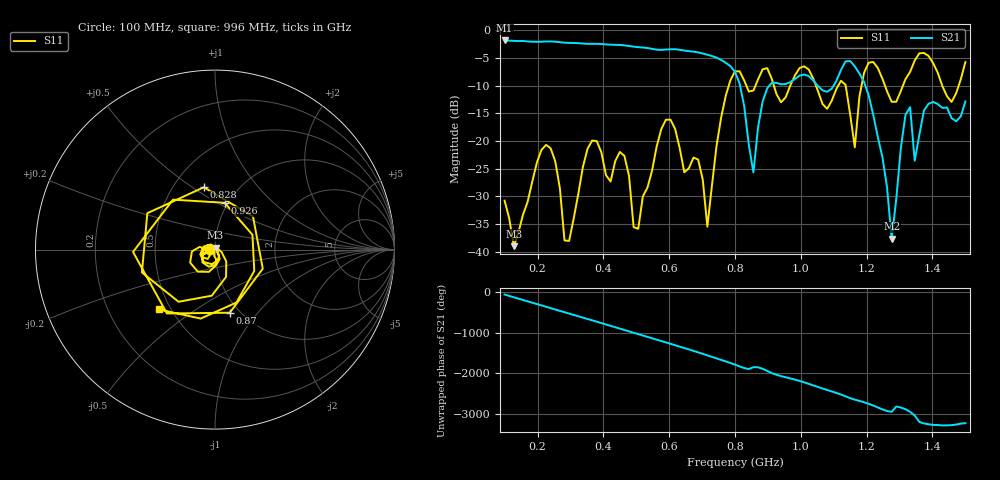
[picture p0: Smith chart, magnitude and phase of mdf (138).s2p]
! NanoVNA-App
! Date: 2025-09-25 15:39:30
! Start: 100MHz Stop: 1,5GHz Points: 101
! S-Parameter data: F S11 S21 S12 S22
# Hz S RI R 50
!  Frequency  S11_Real  S11_Imag  S21_Real  S21_Imag  S12_Real  S12_Imag  S22_Real  S22_Imag
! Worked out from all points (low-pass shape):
!   101 points, 100 MHz to 1.5 GHz, reference 50 ohm
!   highest |S21| = -1.80 dB at 100 MHz (marker M1); lowest = -37.7 dB at 1.276 GHz (marker M2)
!   |S21| within 3 dB of the highest: start of sweep to 739.2 MHz
!   lowest |S11| = -39.0 dB at 128 MHz (marker M3), VSWR 1.02, Z = 50.3 + j1.08 ohm
!   |S11| at or under -10 dB: start of sweep to 781 MHz; 1.046 GHz to 1.113 GHz (67.31 MHz wide, 6.23 % of centre); 1.256 GHz to 1.31 GHz (54.21 MHz wide, 4.23 % of centre) (the widest 3 of 7)
!   S12 and S22 are empty: the file has one direction only
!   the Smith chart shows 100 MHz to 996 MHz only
!   S11 on the Smith chart (normalised r, x): 100 MHz: 0.94, -0.01; 828 MHz: 0.70, +0.56; 870 MHz: 0.90, -0.73; 926 MHz: 0.97, +0.54; 996 MHz: 0.43, -0.36
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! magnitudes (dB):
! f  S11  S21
! 100 MHz  -30.8  -1.8
! 128 MHz  -39.0  -1.9
! 212 MHz  -21.6  -2.0
! 282 MHz  -37.9  -2.2
! 338 MHz  -24.6  -2.4
! 464 MHz  -22.7  -2.7
! 506 MHz  -35.9  -3.0
! 576 MHz  -17.8  -3.5
! 716 MHz  -35.5  -4.4
! 800 MHz  -7.4  -7.5
! 828 MHz  -9.0  -13.7
! 856 MHz  -10.9  -25.7
! 870 MHz  -8.8  -17.5
! 926 MHz  -11.5  -9.5
! 996 MHz  -6.8  -8.2
! 1.038 GHz  -8.7  -9.0
! 1.164 GHz  -21.1  -6.5
! 1.192 GHz  -7.7  -9.3
! 1.276 GHz  -12.9  -37.7
! 1.318 GHz  -8.8  -15.2
! 1.346 GHz  -5.4  -23.6
! 1.5 GHz  -5.7  -12.8
